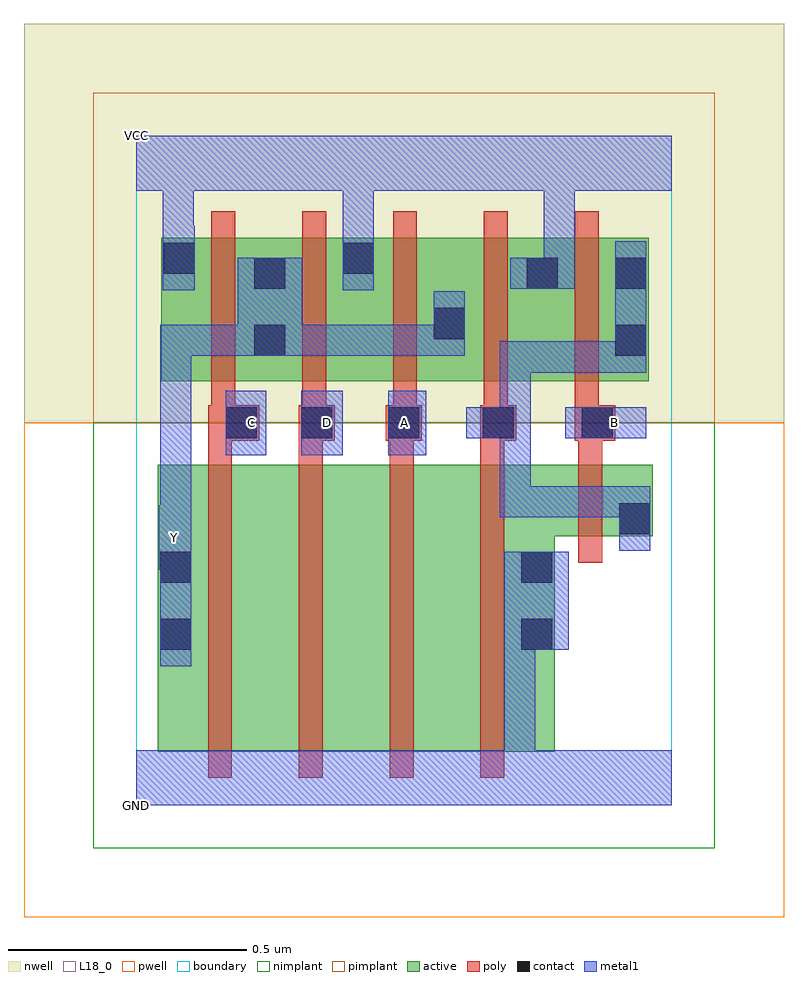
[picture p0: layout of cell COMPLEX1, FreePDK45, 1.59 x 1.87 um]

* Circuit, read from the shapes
.subckt COMPLEX1 A B C D GND VCC Y
M1 n1 C Y VSUBS nfet w=0.6u l=0.05u
M2 n2 D n1 VSUBS nfet w=0.6u l=0.05u
M3 n3 A n2 VSUBS nfet w=0.6u l=0.05u
M4 GND n4 n3 VSUBS nfet w=0.6u l=0.05u
M5 n4 B GND VSUBS nfet w=0.15u l=0.05u
M6 Y C VCC n5 pfet w=0.3u l=0.05u
M7 VCC D Y n5 pfet w=0.3u l=0.05u
M8 Y A VCC n5 pfet w=0.3u l=0.05u
M9 VCC n4 Y n5 pfet w=0.3u l=0.05u
M10 n4 B VCC n5 pfet w=0.3u l=0.05u
.ends

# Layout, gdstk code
import gdstk
lib = gdstk.Library(unit=1e-6, precision=1e-09)
def R(c, l, rs):  # rectangles x0, y0, x1, y1
    for r in rs: c.add(gdstk.rectangle(r[:2], r[2:], *l))
def A(c, l, x, y, w, h, nx, ny, dx, dy):  # array of equal rectangles
    R(c, l, [(x+i*dx, y+j*dy, x+i*dx+w, y+j*dy+h) for i in range(nx) for j in range(ny)])
active = (1, 0)
pwell = (2, 0)
nwell = (3, 0)
nimplant = (4, 0)
pimplant = (5, 0)
poly = (9, 0)
contact = (10, 0)
metal1 = (11, 0)
L18_0 = (18, 0)
boundary = (235, 0)

complex1 = lib.new_cell('COMPLEX1')
R(complex1, active, [(0.045,0.112,0.27,0.712), (0.27,0.112,0.46,0.712), (0.46,0.112,0.65,0.712), (0.65,0.112,0.875,0.712), (0.8,0.115,0.875,0.697), (0.045,0.145,0.15,0.712), (0.8,0.562,1.08,0.712), (1.005,0.562,1.08,0.712), (0.052,0.887,0.317,1.187), (0.052,0.887,0.127,1.187), (0.242,0.887,0.502,1.187), (0.427,0.887,0.692,1.187), (0.617,0.887,0.887,1.187), (0.812,0.887,1.072,1.187), (0.997,0.887,1.072,1.165), (0.617,0.89,0.692,1.167), (0.242,0.907,0.317,1.187), (0.427,1.007,0.502,1.187), (0.812,1.007,0.887,1.167)])
R(complex1, pwell, [(-0.235,-0.235,1.355,0.8)])
R(complex1, nwell, [(-0.235,0.8,1.355,1.635)])
R(complex1, nimplant, [(-0.09,-0.09,1.21,0.8)])
R(complex1, pimplant, [(-0.09,0.8,1.21,1.49)])
A(complex1, poly, 0.15, 0.057, 0.05, 0.71, 4, 1, 0.19, 0)
A(complex1, poly, 0.15, 0.717, 0.05, 0.095, 4, 1, 0.19, 0)
A(complex1, poly, 0.157, 0.787, 0.05, 0.095, 5, 1, 0.19, 0)
A(complex1, poly, 0.157, 0.832, 0.05, 0.41, 5, 1, 0.19, 0)
R(complex1, poly, [(0.925,0.507,0.975,0.767), (0.925,0.717,0.975,0.812), (0.15,0.762,0.257,0.837), (0.34,0.762,0.415,0.837), (0.522,0.762,0.597,0.837), (0.72,0.762,0.795,0.837), (0.917,0.762,1.002,0.837)])
R(complex1, contact, [(0.05,0.325,0.115,0.39), (0.805,0.325,0.87,0.39), (0.05,0.465,0.115,0.53), (0.805,0.465,0.87,0.53), (1.01,0.567,1.075,0.632), (0.187,0.767,0.252,0.832), (0.345,0.767,0.41,0.832), (0.527,0.767,0.592,0.832), (0.725,0.767,0.79,0.832), (0.932,0.767,0.997,0.832), (0.247,0.94,0.312,1.005), (1.002,0.94,1.067,1.005), (0.622,0.975,0.687,1.04), (0.247,1.08,0.312,1.145), (0.817,1.08,0.882,1.145), (1.002,1.08,1.067,1.145), (0.057,1.112,0.122,1.177), (0.432,1.112,0.497,1.177)])
R(complex1, metal1, [(0,0,1.12,0.115), (0.77,0.05,0.835,0.115), (0.77,0.05,0.835,0.115), (0.77,0.05,0.835,0.39), (0.05,0.29,0.115,0.565), (0.77,0.325,0.905,0.53), (0.047,0.492,0.115,0.627), (0.05,0.5,0.115,0.565), (1.01,0.532,1.075,0.667), (0.05,0.562,0.115,1.005), (0.76,0.602,0.825,0.667), (0.76,0.602,1.075,0.667), (0.76,0.602,0.825,0.832), (1.01,0.602,1.075,0.667), (1.01,0.602,1.075,0.667), (0.187,0.732,0.272,0.867), (0.345,0.732,0.432,0.867), (0.527,0.732,0.607,0.867), (0.69,0.767,0.825,0.832), (0.76,0.767,0.825,0.832), (0.76,0.767,0.825,0.832), (0.76,0.767,0.825,0.97), (0.897,0.767,1.067,0.832), (0.76,0.905,0.825,0.97), (0.76,0.905,1.067,0.97), (1.002,0.905,1.067,0.97), (1.002,0.905,1.067,0.97), (1.002,0.905,1.067,1.18), (0.05,0.94,0.115,1.005), (0.05,0.94,0.115,1.005), (0.05,0.94,0.115,1.005), (0.05,0.94,0.277,1.005), (0.212,0.94,0.347,1.145), (0.282,0.94,0.372,1.005), (0.307,0.94,0.372,1.005), (0.307,0.94,0.51,1.005), (0.445,0.94,0.51,1.005), (0.445,0.94,0.617,1.005), (0.552,0.94,0.617,1.005), (0.552,0.94,0.687,1.005), (0.622,0.94,0.687,1.075), (0.055,1.077,0.122,1.212), (0.432,1.077,0.497,1.212), (0.782,1.08,0.917,1.145), (0.852,1.08,0.917,1.35), (0.055,1.147,0.12,1.35), (0.432,1.147,0.497,1.35), (0,1.285,1.12,1.4), (0.055,1.285,0.12,1.35), (0.055,1.285,0.12,1.35), (0.432,1.285,0.497,1.35), (0.432,1.285,0.497,1.35), (0.852,1.285,0.917,1.35), (0.852,1.285,0.917,1.35)])
A(complex1, L18_0, 0.207, 0.767, 0.065, 0.065, 3, 1, 0.16, 0)
R(complex1, L18_0, [(0,0,1.12,0.115), (0.77,0.05,0.835,0.115), (0.77,0.05,0.835,0.115), (0.77,0.05,0.835,0.39), (0.05,0.29,0.115,0.565), (0.77,0.325,0.905,0.53), (0.047,0.492,0.115,0.627), (0.05,0.5,0.115,0.565), (0.047,0.527,0.112,0.592), (0.05,0.562,0.115,1.005), (0.187,0.732,0.272,0.867), (0.345,0.732,0.432,0.867), (0.527,0.732,0.607,0.867), (0.897,0.767,1.067,0.832), (0.967,0.767,1.032,0.832), (0.05,0.94,0.115,1.005), (0.05,0.94,0.115,1.005), (0.05,0.94,0.115,1.005), (0.05,0.94,0.277,1.005), (0.212,0.94,0.347,1.145), (0.282,0.94,0.372,1.005), (0.307,0.94,0.372,1.005), (0.307,0.94,0.51,1.005), (0.445,0.94,0.51,1.005), (0.445,0.94,0.617,1.005), (0.552,0.94,0.617,1.005), (0.552,0.94,0.687,1.005), (0.622,0.94,0.687,1.075), (0.055,1.077,0.122,1.212), (0.432,1.077,0.497,1.212), (0.782,1.08,0.917,1.145), (0.852,1.08,0.917,1.35), (0.055,1.147,0.12,1.35), (0.432,1.147,0.497,1.35), (0,1.285,1.12,1.4), (0.055,1.285,0.12,1.35), (0.055,1.285,0.12,1.35), (0.432,1.285,0.497,1.35), (0.432,1.285,0.497,1.35), (0.852,1.285,0.917,1.35), (0.852,1.285,0.917,1.35)])
R(complex1, boundary, [(0,0,1.12,1.4)])
complex1.add(gdstk.Label('A', (0.56,0.8), layer=11, texttype=0))
complex1.add(gdstk.Label('B', (1,0.8), layer=11, texttype=0))
complex1.add(gdstk.Label('C', (0.24,0.8), layer=11, texttype=0))
complex1.add(gdstk.Label('D', (0.4,0.8), layer=11, texttype=0))
complex1.add(gdstk.Label('Y', (0.08,0.56), layer=11, texttype=0))
complex1.add(gdstk.Label('VCC', (0,1.4), layer=11, texttype=0))
complex1.add(gdstk.Label('GND', (0,0), layer=11, texttype=0))

lib.write_gds('COMPLEX1.gds')
